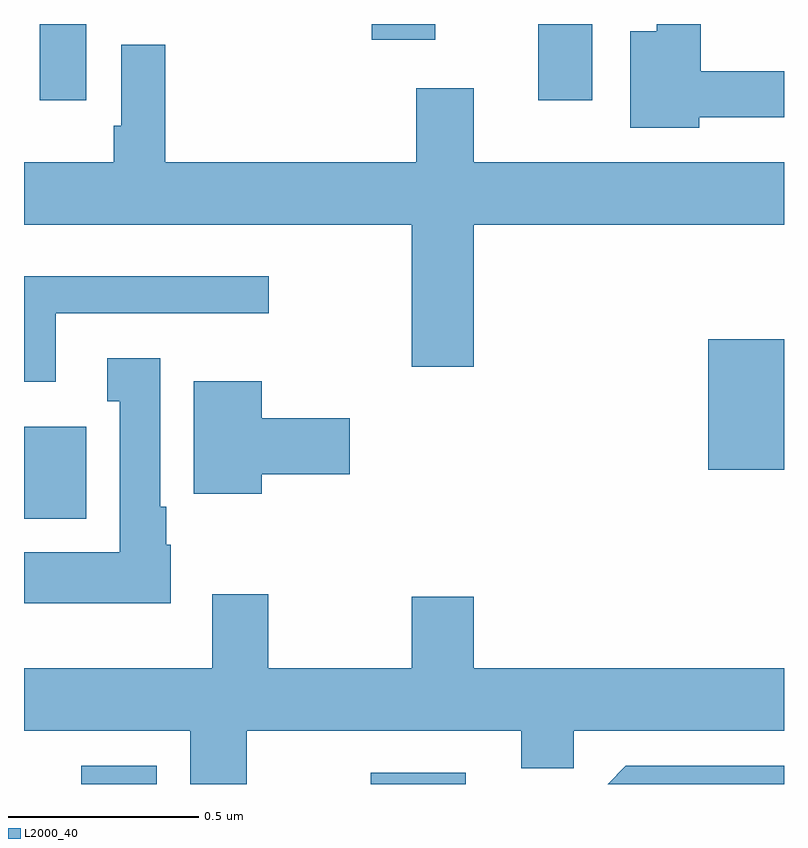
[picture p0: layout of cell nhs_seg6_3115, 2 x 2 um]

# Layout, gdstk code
import gdstk
lib = gdstk.Library(unit=1e-6, precision=1e-09)
def R(c, l, rs):  # rectangles x0, y0, x1, y1
    for r in rs: c.add(gdstk.rectangle(r[:2], r[2:], *l))
def P(c, l, *ps):  # polygons
    for p in ps: c.add(gdstk.Polygon(p, *l))
L2000_40 = (2000, 40)

nhs_seg6_3115 = lib.new_cell('nhs_seg6_3115')
R(nhs_seg6_3115, L2000_40, [(152.151,976.5,152.349,976.548), (152.913,976.5,153.163,976.53), (152,977.198,152.164,977.44), (153.8,977.327,154,977.671), (152.042,978.3,152.164,978.5), (153.353,978.3,153.496,978.5), (152.915,978.459,153.082,978.5)])
P(nhs_seg6_3115, L2000_40, [(153.777,978.254),(154,978.254),(154,978.376),(153.781,978.376),(153.781,978.5),(153.665,978.5),(153.665,978.481),(153.596,978.481),(153.596,978.227),(153.777,978.227)],
  [(153.184,977.972),(154,977.972),(154,978.136),(153.184,978.136),(153.184,978.331),(153.032,978.331),(153.032,978.136),(152.372,978.136),(152.372,978.445),(152.256,978.445),(152.256,978.232),(152.236,978.232),(152.236,978.136),(152,978.136),(152,977.972),(153.02,977.972),(153.02,977.598),(153.184,977.598)],
  [(152.083,977.739),(152.644,977.739),(152.644,977.836),(152,977.836),(152,977.558),(152.083,977.558)],
  [(152.386,977.13),(152.374,977.13),(152.374,977.23),(152.359,977.23),(152.359,977.62),(152.219,977.62),(152.219,977.507),(152.252,977.507),(152.252,977.11),(152,977.11),(152,976.976),(152.386,976.976)],
  [(152.626,977.315),(152.857,977.315),(152.857,977.462),(152.626,977.462),(152.626,977.56),(152.447,977.56),(152.447,977.264),(152.626,977.264)],
  [(152.586,976.64),(153.308,976.64),(153.308,976.542),(153.447,976.542),(153.447,976.64),(154,976.64),(154,976.804),(153.184,976.804),(153.184,976.993),(153.02,976.993),(153.02,976.804),(152.643,976.804),(152.643,976.999),(152.495,976.999),(152.495,976.804),(152,976.804),(152,976.64),(152.438,976.64),(152.438,976.5),(152.586,976.5)],
  [(154,976.548),(153.584,976.548),(153.536,976.5),(154,976.5)])

lib.write_gds('nhs_seg6_3115.gds')
